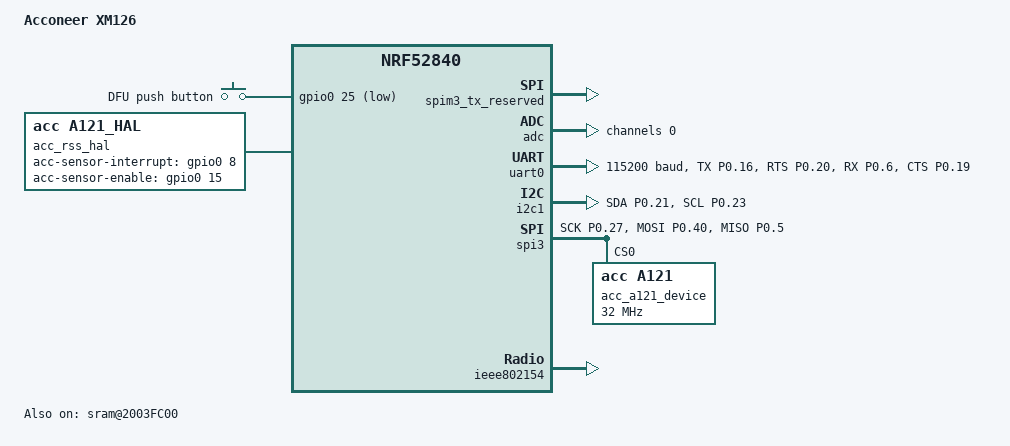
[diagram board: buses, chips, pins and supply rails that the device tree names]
/*
 * Copyright (c) 2022 Acconeer AB
 *
 * SPDX-License-Identifier: BSD-3-Clause
 */

/dts-v1/;
#include <nordic/nrf52840_qiaa.dtsi>

/ {
	model = "Acconeer XM126";
	compatible = "acc,xm126";

	chosen {
		zephyr,console = &uart0;
		zephyr,shell-uart = &uart0;
		zephyr,uart-mcumgr = &uart0;
		zephyr,bt-mon-uart = &uart0;
		zephyr,bt-c2h-uart = &uart0;
		zephyr,sram = &sram0;
		zephyr,flash = &flash0;
		zephyr,code-partition = &slot0_partition;
		zephyr,ieee802154 = &ieee802154;
	};

	buttons {
		compatible = "gpio-keys";
		button0: button_0 {
			gpios = <&gpio0 25 (GPIO_PULL_UP | GPIO_ACTIVE_LOW)>;
			label = "DFU push button";
		};
	};

	/* These aliases are provided for compatibility with samples */
	aliases {
		mcuboot-button0 = &button0;
	};

	spim3_tx_reserved: memory@20000000 {
		compatible = "zephyr,memory-region";
		reg = <0x20000000 0x2000>;
		zephyr,memory-region = "spim3_tx_buffer";
	};

	sram@2003FC00 {
		compatible = "zephyr,memory-region", "mmio-sram";
		reg = <0x2003FC00 DT_SIZE_K(1)>;
		zephyr,memory-region = "RetainedMem";
		status = "okay";

		retainedmem {
			compatible = "zephyr,retained-ram";
			status = "okay";
			#address-cells = <1>;
			#size-cells = <1>;

			/* This creates a 256-byte partition */
			retention0: retention@0 {
				compatible = "zephyr,retention";
				status = "okay";

				/* The total size of this area is 256
				 * bytes which includes the prefix and
				 * checksum, this means that the usable
				 * data storage area is 256 - 3 = 253
				 * bytes
				 */
				reg = <0x0 0x100>;

				/* This is the prefix which must appear
				 * at the front of the data
				 */
				prefix = [08 04];

				/* This uses a 1-byte checksum */
				checksum = <1>;
			};
		};
	};

	chosen {
		zephyr,boot-mode = &retention0;
	};
};

&pinctrl {
	uart0_default: uart0_default {
		group1 {
			psels = <NRF_PSEL(UART_TX, 0, 16)>,
				<NRF_PSEL(UART_RTS, 0, 20)>;
		};
		group2 {
			psels = <NRF_PSEL(UART_RX, 0, 6)>,
				<NRF_PSEL(UART_CTS, 0, 19)>;
			bias-pull-up;
		};
	};
	uart0_sleep: uart0_sleep {
		group1 {
			psels = <NRF_PSEL(UART_TX, 0, 16)>,
				<NRF_PSEL(UART_RTS, 0, 20)>;
		};
		group2 {
			psels = <NRF_PSEL(UART_RX, 0, 6)>,
				<NRF_PSEL(UART_CTS, 0, 19)>;
			bias-pull-up;
		};
	};
	i2c1_default: i2c1_default {
		group1 {
			psels = <NRF_PSEL(TWIM_SDA, 0, 21)>,
				<NRF_PSEL(TWIM_SCL, 0, 23)>;
		};
	};
	spi3_default_alt: spi3_default_alt {
		group1 {
			psels = <NRF_PSEL(SPIM_SCK, 0, 27)>,
				<NRF_PSEL(SPIM_MOSI, 0, 40)>,
				<NRF_PSEL(SPIM_MISO, 0, 5)>;
		};
	};
	spi3_sleep_alt: spi3_sleep_alt {
		group1 {
			psels = <NRF_PSEL(SPIM_SCK, 0, 27)>,
				<NRF_PSEL(SPIM_MOSI, 0, 40)>,
				<NRF_PSEL(SPIM_MISO, 0, 5)>;
			low-power-enable;
		};
	};
};

&adc {
	status = "okay";
};

&uicr {
	gpio-as-nreset;
};

&gpiote {
	status = "okay";
};

&gpio0 {
	status = "okay";
};

&gpio1 {
	status = "okay";
};

&uart0 {
	compatible = "nordic,nrf-uarte";
	status = "okay";
	current-speed = <115200>;
	pinctrl-0 = <&uart0_default>;
	pinctrl-1 = <&uart0_sleep>;
	pinctrl-names = "default", "sleep";
};

&i2c1 {
	compatible = "nordic,nrf-twi";
	status = "okay";
	pinctrl-0 = <&i2c1_default>;
	pinctrl-names = "default";
};

/ {
	acc_rss_hal {
		compatible = "acc,a121_hal";

		acc-sensor-interrupt-gpios = <&gpio0 8 GPIO_ACTIVE_HIGH>;
		acc-sensor-enable-gpios = <&gpio0 15 GPIO_ACTIVE_HIGH>;

		acc-spi-freq = <32000000>;
		acc-sensor-stab-time-us = <2000>;
		acc-max-spi-transfer-size = <4096>;
	};
};

&spi3 {
	compatible = "nordic,nrf-spim";
	status = "okay";
	pinctrl-0 = <&spi3_default_alt>;
	pinctrl-1 = <&spi3_sleep_alt>;
	pinctrl-names = "default", "sleep";
	acc_a121_device: a121@0 {
		compatible = "acc,a121";
		reg = <0x0>;

		spi-max-frequency = <32000000>;
		status = "okay";
	};
};

&ieee802154 {
	status = "okay";
};

&flash0 {

	partitions {
		compatible = "fixed-partitions";
		#address-cells = <1>;
		#size-cells = <1>;

		boot_partition: partition@0 {
			label = "mcuboot";
			reg = <0x00000000 0x0000C000>;
		};
		slot0_partition: partition@c000 {
			label = "image-0";
			reg = <0x0000C000 0x00067000>;
		};
		slot1_partition: partition@73000 {
			label = "image-1";
			reg = <0x00073000 0x00067000>;
		};
		scratch_partition: partition@da000 {
			label = "image-scratch";
			reg = <0x000da000 0x0001e000>;
		};

		/*
		 * The flash starting at 0x000f8000 and ending at
		 * 0x000fffff is reserved for use by the application.
		 */

		/*
		 * Storage partition will be used by FCB/LittleFS/NVS
		 * if enabled.
		 */
		storage_partition: partition@f8000 {
			label = "storage";
			reg = <0x000f8000 0x00008000>;
		};
	};
};

/* Reduce SRAM0 usage by 9KB to account for non-init area and reserved spim3_tx_buffer */
&sram0 {
	reg = <0x20002000 DT_SIZE_K(247)>;
};

/ {
	vbatt {
	   compatible = "voltage-divider";
	   status = "disabled";
	   io-channels = <&adc 0>;
	   output-ohms = <180000>;
	   full-ohms = <(360000 + 180000)>;
	   power-gpios = <&gpio0 29 GPIO_ACTIVE_HIGH>;
	};
 };

&adc {
	#address-cells = <1>;
	#size-cells = <0>;

	channel@0 {
		reg = <0>;
		zephyr,gain = "ADC_GAIN_1_3";
		zephyr,reference = "ADC_REF_INTERNAL";
		zephyr,acquisition-time = <ADC_ACQ_TIME(ADC_ACQ_TIME_MICROSECONDS, 15)>;
		zephyr,input-positive = <NRF_SAADC_AIN0>;
		zephyr,resolution = <10>;
	};
};

/* configure REG1 in DC/DC mode */
&reg1 {
    regulator-initial-mode = <NRF5X_REG_MODE_DCDC>;
};
